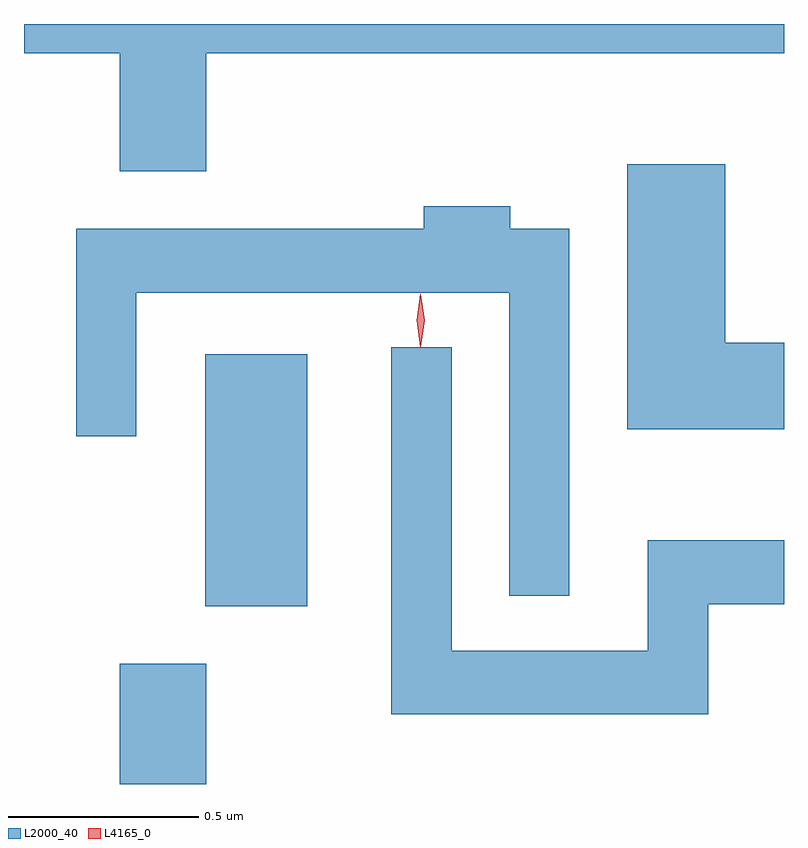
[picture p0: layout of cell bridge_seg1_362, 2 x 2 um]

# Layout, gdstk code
import gdstk
lib = gdstk.Library(unit=1e-6, precision=1e-09)
def R(c, l, rs):  # rectangles x0, y0, x1, y1
    for r in rs: c.add(gdstk.rectangle(r[:2], r[2:], *l))
def P(c, l, *ps):  # polygons
    for p in ps: c.add(gdstk.Polygon(p, *l))
L2000_40 = (2000, 40)
L4165_0 = (4165, 0)

bridge_seg1_362 = lib.new_cell('bridge_seg1_362')
R(bridge_seg1_362, L2000_40, [(933.951,884.333,934.179,884.649), (934.176,884.801,934.444,885.464)])
P(bridge_seg1_362, L2000_40, [(934.179,886.256),(935.699,886.256),(935.699,886.333),(933.699,886.333),(933.699,886.256),(933.951,886.256),(933.951,885.946),(934.179,885.946)],
  [(935.699,885.494),(935.544,885.494),(935.544,885.964),(935.286,885.964),(935.286,885.266),(935.699,885.266)],
  [(935.134,885.794),(934.979,885.794),(934.979,885.854),(934.751,885.854),(934.751,885.794),(933.836,885.794),(933.836,885.248),(933.994,885.248),(933.994,885.626),(934.976,885.626),(934.976,884.828),(935.134,884.828)],
  [(935.499,884.806),(935.699,884.806),(935.699,884.974),(935.341,884.974),(935.341,884.684),(934.824,884.684),(934.824,885.483),(934.666,885.483),(934.666,884.516),(935.499,884.516)])
P(bridge_seg1_362, L4165_0, [(934.742,885.487),(934.733,885.554),(934.742,885.62),(934.743,885.62),(934.743,885.62),(934.753,885.554),(934.743,885.487),(934.743,885.487)],
  [(934.742,885.484),(934.733,885.553),(934.742,885.622),(934.743,885.623),(934.743,885.622),(934.753,885.553),(934.743,885.484),(934.743,885.484)])

lib.write_gds('bridge_seg1_362.gds')
